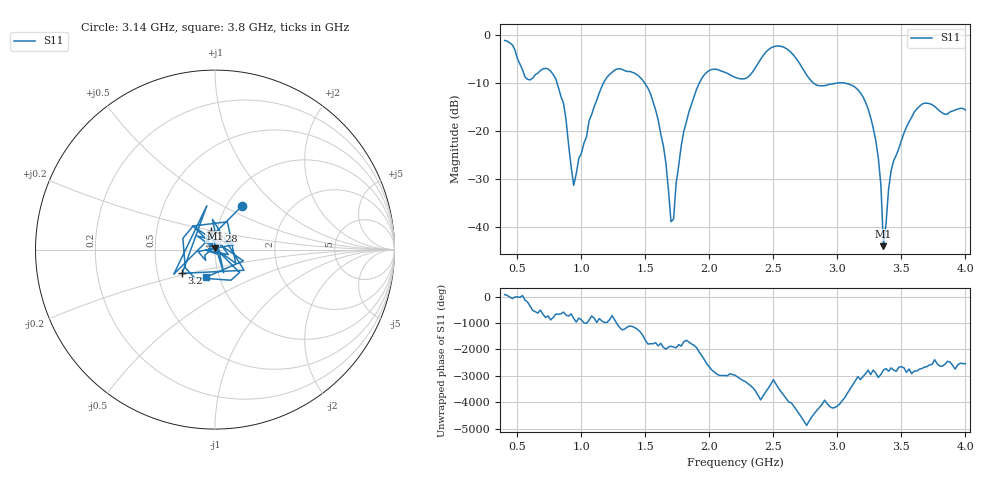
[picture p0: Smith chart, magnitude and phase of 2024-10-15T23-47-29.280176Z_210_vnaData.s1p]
! Created with skrf (http://scikit-rf.org).
# Hz S RI R 50.0
!freq ReS11 ImS11
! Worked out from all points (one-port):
!   181 points, 400 MHz to 4 GHz, reference 50 ohm
!   lowest |S11| = -44.0 dB at 3.36 GHz (marker M1), VSWR 1.01, Z = 49.9 + j0.616 ohm
!   |S11| at or under -10 dB: 809.4 MHz to 1.173 GHz (363.9 MHz wide, 36.7 % of centre); 1.493 GHz to 1.922 GHz (429.7 MHz wide, 25.2 % of centre); 3.042 GHz to end of sweep (the widest 3 of 4)
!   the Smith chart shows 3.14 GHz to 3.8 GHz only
!   S11 on the Smith chart (normalised r, x): 3.14 GHz: 1.17, +0.62; 3.2 GHz: 0.67, -0.19; 3.28 GHz: 0.93, +0.20; 3.8 GHz: 0.87, -0.27
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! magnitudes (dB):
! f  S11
! 400 MHz  -1.2
! 580 MHz  -9.3
! 760 MHz  -7.6
! 860 MHz  -14.2
! 940 MHz  -31.3
! 1.14 GHz  -12.1
! 1.3 GHz  -7.1
! 1.54 GHz  -12.3
! 1.64 GHz  -23.0
! 1.7 GHz  -38.9
! 1.72 GHz  -38.4
! 1.76 GHz  -27.3
! 1.84 GHz  -16.0
! 1.94 GHz  -9.1
! 2.2 GHz  -8.9
! 2.5 GHz  -2.5
! 2.66 GHz  -4.3
! 2.84 GHz  -10.5
! 3.1 GHz  -10.4
! 3.14 GHz  -11.0
! 3.2 GHz  -12.9
! 3.28 GHz  -19.4
! 3.34 GHz  -31.3
! 3.36 GHz  -44.0
! 3.42 GHz  -28.3
! 3.56 GHz  -18.1
! 3.8 GHz  -15.9
! 4 GHz  -15.6
